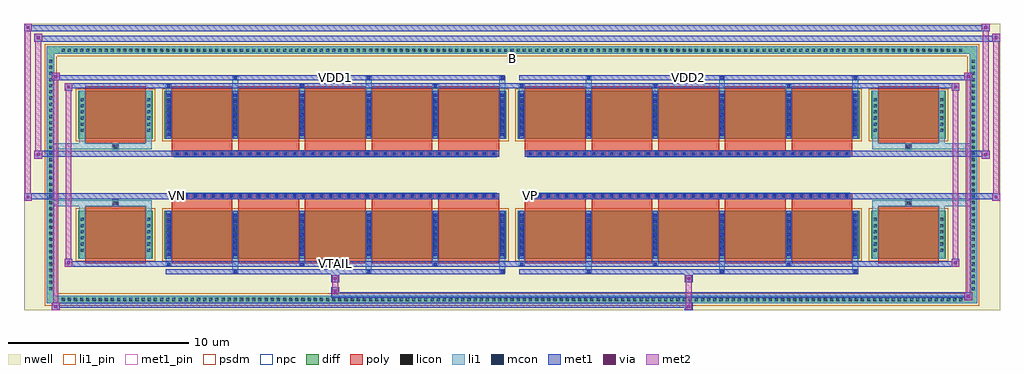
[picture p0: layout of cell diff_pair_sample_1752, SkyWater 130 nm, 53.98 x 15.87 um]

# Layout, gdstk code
import gdstk
lib = gdstk.Library(unit=1e-6, precision=5e-09)
def R(c, l, rs):  # rectangles x0, y0, x1, y1
    for r in rs: c.add(gdstk.rectangle(r[:2], r[2:], *l))
def A(c, l, x, y, w, h, nx, ny, dx, dy):  # array of equal rectangles
    R(c, l, [(x+i*dx, y+j*dy, x+i*dx+w, y+j*dy+h) for i in range(nx) for j in range(ny)])
def P(c, l, *ps):  # polygons
    for p in ps: c.add(gdstk.Polygon(p, *l))
nwell = (64, 20)
diff = (65, 20)
poly = (66, 20)
licon = (66, 44)
li1_pin = (67, 16)
li1 = (67, 20)
mcon = (67, 44)
met1_pin = (68, 16)
met1 = (68, 20)
via = (68, 44)
met2 = (69, 20)
psdm = (94, 20)
npc = (95, 20)

diff_pair_sample_1752 = lib.new_cell('diff_pair_sample_1752')
R(diff_pair_sample_1752, nwell, [(-26.99,-7.5,26.99,8.37), (-24.31,-5.69,-0.01,-0.805), (0.01,-5.69,24.31,-0.805), (-24.31,0.805,-0.01,5.69), (0.01,0.805,24.31,5.69)])
A(diff_pair_sample_1752, diff, -25.025, -7.1, 0.41, 0.41, 147, 2, 0.34, 13.79)
A(diff_pair_sample_1752, diff, -25.72, -6.495, 0.41, 0.41, 1, 38, 0, 0.34)
A(diff_pair_sample_1752, diff, 25.31, -6.495, 0.41, 0.41, 1, 38, 0, 0.34)
R(diff_pair_sample_1752, diff, [(-25.025,-7.1,25.025,-6.69), (-25.72,-6.495,-25.31,6.495), (25.31,-6.495,25.72,6.495), (-24,-4.645,-19.86,-1.985), (-19.22,-4.645,-0.32,-1.985), (0.32,-4.645,19.22,-1.985), (19.86,-4.645,24,-1.985), (-24,1.985,-19.86,4.645), (-19.22,1.985,-0.32,4.645), (0.32,1.985,19.22,4.645), (19.86,1.985,24,4.645), (-25.025,6.69,25.025,7.1)])
P(diff_pair_sample_1752, diff, [(25.72,7.1),(-25.72,7.1),(-25.72,-6.69),(-25.31,-6.69),(-25.31,6.69),(25.31,6.69),(25.31,-6.69),(-25.31,-6.69),(-25.72,-6.69),(-25.72,-7.1),(25.72,-7.1)])
A(diff_pair_sample_1752, poly, -18.83, -4.895, 3.36, 3.16, 5, 2, 3.69, 6.63)
A(diff_pair_sample_1752, poly, 0.71, -4.895, 3.36, 3.16, 5, 2, 3.69, 6.63)
A(diff_pair_sample_1752, poly, -18.83, -1.735, 3.36, 0.4, 5, 2, 3.69, 3.07)
A(diff_pair_sample_1752, poly, 0.71, -1.735, 3.36, 0.4, 5, 2, 3.69, 3.07)
A(diff_pair_sample_1752, poly, -18.685, -1.335, 0.33, 0.33, 36, 2, 0.5, 2.34)
A(diff_pair_sample_1752, poly, 0.855, -1.335, 0.33, 0.33, 36, 2, 0.5, 2.34)
R(diff_pair_sample_1752, poly, [(-23.61,-4.895,-20.25,-1.735), (20.25,-4.895,23.61,-1.735), (-22.095,-1.735,-21.765,-1.405), (-22.095,-1.735,-21.765,-1.405), (21.765,-1.735,22.095,-1.405), (21.765,-1.735,22.095,-1.405), (-18.83,-1.335,-0.71,-1.005), (0.71,-1.335,18.83,-1.005), (-18.83,1.005,-0.71,1.335), (0.71,1.005,18.83,1.335), (-22.095,1.405,-21.765,1.735), (-22.095,1.405,-21.765,1.735), (21.765,1.405,22.095,1.735), (21.765,1.405,22.095,1.735), (-23.61,1.735,-20.25,4.895), (20.25,1.735,23.61,4.895)])
A(diff_pair_sample_1752, licon, -24.905, -6.98, 0.17, 0.17, 147, 2, 0.34, 13.79)
A(diff_pair_sample_1752, licon, -25.6, -6.375, 0.17, 0.17, 1, 38, 0, 0.34)
A(diff_pair_sample_1752, licon, 25.43, -6.375, 0.17, 0.17, 1, 38, 0, 0.34)
A(diff_pair_sample_1752, licon, -23.86, -4.25, 0.17, 0.17, 1, 6, 0, 0.34)
A(diff_pair_sample_1752, licon, -20.17, -4.25, 0.17, 0.17, 1, 6, 0, 0.34)
A(diff_pair_sample_1752, licon, -19.08, -4.25, 0.17, 0.17, 6, 6, 3.69, 0.34)
A(diff_pair_sample_1752, licon, 0.46, -4.25, 0.17, 0.17, 6, 6, 3.69, 0.34)
A(diff_pair_sample_1752, licon, 20, -4.25, 0.17, 0.17, 1, 6, 0, 0.34)
A(diff_pair_sample_1752, licon, 23.69, -4.25, 0.17, 0.17, 1, 6, 0, 0.34)
A(diff_pair_sample_1752, licon, -18.605, -1.255, 0.17, 0.17, 36, 2, 0.5, 2.34)
A(diff_pair_sample_1752, licon, 0.935, -1.255, 0.17, 0.17, 36, 2, 0.5, 2.34)
A(diff_pair_sample_1752, licon, -23.86, 2.38, 0.17, 0.17, 1, 6, 0, 0.34)
A(diff_pair_sample_1752, licon, -20.17, 2.38, 0.17, 0.17, 1, 6, 0, 0.34)
A(diff_pair_sample_1752, licon, -19.08, 2.38, 0.17, 0.17, 6, 6, 3.69, 0.34)
A(diff_pair_sample_1752, licon, 0.46, 2.38, 0.17, 0.17, 6, 6, 3.69, 0.34)
A(diff_pair_sample_1752, licon, 20, 2.38, 0.17, 0.17, 1, 6, 0, 0.34)
A(diff_pair_sample_1752, licon, 23.69, 2.38, 0.17, 0.17, 1, 6, 0, 0.34)
R(diff_pair_sample_1752, licon, [(-22.015,-1.655,-21.845,-1.485), (21.845,-1.655,22.015,-1.485), (-22.015,1.485,-21.845,1.655), (21.845,1.485,22.015,1.655)])
R(diff_pair_sample_1752, li1_pin, [(-0.25,6.19,0.25,6.69)])
A(diff_pair_sample_1752, li1, -24.985, -7.06, 0.33, 0.33, 147, 2, 0.34, 13.79)
A(diff_pair_sample_1752, li1, -25.68, -6.455, 0.33, 0.33, 1, 38, 0, 0.34)
A(diff_pair_sample_1752, li1, 25.35, -6.455, 0.33, 0.33, 1, 38, 0, 0.34)
A(diff_pair_sample_1752, li1, -15.47, -5.45, 0.33, 0.805, 3, 2, 7.38, 10.095)
A(diff_pair_sample_1752, li1, -15.39, -5.45, 0.17, 0.17, 3, 2, 7.38, 10.73)
A(diff_pair_sample_1752, li1, 4.07, -5.45, 0.33, 0.805, 3, 2, 7.38, 10.095)
A(diff_pair_sample_1752, li1, 4.15, -5.45, 0.17, 0.17, 3, 2, 7.38, 10.73)
A(diff_pair_sample_1752, li1, -19.16, -5.02, 0.33, 0.375, 3, 2, 7.38, 9.665)
A(diff_pair_sample_1752, li1, -19.08, -5.02, 0.17, 0.17, 3, 2, 7.38, 9.87)
A(diff_pair_sample_1752, li1, 0.38, -5.02, 0.33, 0.375, 3, 2, 7.38, 9.665)
A(diff_pair_sample_1752, li1, 0.46, -5.02, 0.17, 0.17, 3, 2, 7.38, 9.87)
A(diff_pair_sample_1752, li1, -19.16, -4.645, 0.33, 2.66, 6, 2, 3.69, 6.63)
A(diff_pair_sample_1752, li1, 0.38, -4.645, 0.33, 2.66, 6, 2, 3.69, 6.63)
A(diff_pair_sample_1752, li1, -19.08, -4.48, 0.17, 0.17, 6, 7, 3.69, 0.36)
A(diff_pair_sample_1752, li1, -19.08, -4.48, 0.17, 2.33, 6, 2, 3.69, 6.63)
A(diff_pair_sample_1752, li1, 0.46, -4.48, 0.17, 0.17, 6, 7, 3.69, 0.36)
A(diff_pair_sample_1752, li1, 0.46, -4.48, 0.17, 2.33, 6, 2, 3.69, 6.63)
A(diff_pair_sample_1752, li1, -23.94, -4.33, 0.33, 0.33, 1, 6, 0, 0.34)
A(diff_pair_sample_1752, li1, -20.25, -4.33, 0.33, 0.33, 1, 6, 0, 0.34)
A(diff_pair_sample_1752, li1, -19.16, -4.33, 0.33, 0.33, 6, 6, 3.69, 0.34)
A(diff_pair_sample_1752, li1, 0.38, -4.33, 0.33, 0.33, 6, 6, 3.69, 0.34)
A(diff_pair_sample_1752, li1, 19.92, -4.33, 0.33, 0.33, 1, 6, 0, 0.34)
A(diff_pair_sample_1752, li1, 23.61, -4.33, 0.33, 0.33, 1, 6, 0, 0.34)
A(diff_pair_sample_1752, li1, -18.685, -1.335, 0.33, 0.33, 36, 2, 0.5, 2.34)
A(diff_pair_sample_1752, li1, 0.855, -1.335, 0.33, 0.33, 36, 2, 0.5, 2.34)
A(diff_pair_sample_1752, li1, -19.08, 2.15, 0.17, 0.17, 6, 7, 3.69, 0.36)
A(diff_pair_sample_1752, li1, 0.46, 2.15, 0.17, 0.17, 6, 7, 3.69, 0.36)
A(diff_pair_sample_1752, li1, -23.94, 2.3, 0.33, 0.33, 1, 6, 0, 0.34)
A(diff_pair_sample_1752, li1, -20.25, 2.3, 0.33, 0.33, 1, 6, 0, 0.34)
A(diff_pair_sample_1752, li1, -19.16, 2.3, 0.33, 0.33, 6, 6, 3.69, 0.34)
A(diff_pair_sample_1752, li1, 0.38, 2.3, 0.33, 0.33, 6, 6, 3.69, 0.34)
A(diff_pair_sample_1752, li1, 19.92, 2.3, 0.33, 0.33, 1, 6, 0, 0.34)
A(diff_pair_sample_1752, li1, 23.61, 2.3, 0.33, 0.33, 1, 6, 0, 0.34)
R(diff_pair_sample_1752, li1, [(-25.72,-7.1,-25.31,-6.69), (-25.72,-7.1,-25.31,-6.69), (-25.31,-7.1,25.31,-6.69), (25.31,-7.1,25.72,-6.69), (25.31,-7.1,25.72,-6.69), (-25.72,-6.69,-25.31,6.69), (25.31,-6.69,25.72,6.69), (-23.94,-4.645,-23.61,-1.985), (-20.25,-4.645,-19.92,-1.985), (19.92,-4.645,20.25,-1.985), (23.61,-4.645,23.94,-1.985), (-23.94,-1.985,-23.61,-1.405), (-20.25,-1.985,-19.92,-1.405), (19.92,-1.985,20.25,-1.405), (23.61,-1.985,23.94,-1.405), (-25.72,-1.735,-22.095,-1.405), (-23.94,-1.735,-22.095,-1.405), (-22.095,-1.735,-21.765,-1.405), (-21.765,-1.735,-19.92,-1.405), (19.92,-1.735,21.765,-1.405), (21.765,-1.735,22.095,-1.405), (21.765,-1.735,25.72,-1.405), (22.095,-1.735,23.94,-1.405), (-25.72,1.405,-22.095,1.735), (-23.94,1.405,-22.095,1.735), (-23.94,1.405,-23.61,1.985), (-22.095,1.405,-21.765,1.735), (-21.765,1.405,-19.92,1.735), (-20.25,1.405,-19.92,1.985), (19.92,1.405,21.765,1.735), (19.92,1.405,20.25,1.985), (21.765,1.405,22.095,1.735), (21.765,1.405,25.72,1.735), (22.095,1.405,23.94,1.735), (23.61,1.405,23.94,1.985), (-23.94,1.985,-23.61,4.645), (-20.25,1.985,-19.92,4.645), (19.92,1.985,20.25,4.645), (23.61,1.985,23.94,4.645), (-25.72,6.69,-25.31,7.1), (-25.72,6.69,-25.31,7.1), (-25.31,6.69,25.31,7.1), (25.31,6.69,25.72,7.1), (25.31,6.69,25.72,7.1)])
A(diff_pair_sample_1752, mcon, -15.39, -5.45, 0.17, 0.17, 3, 2, 7.38, 10.73)
A(diff_pair_sample_1752, mcon, 4.15, -5.45, 0.17, 0.17, 3, 2, 7.38, 10.73)
A(diff_pair_sample_1752, mcon, -19.08, -5.02, 0.17, 0.17, 3, 2, 7.38, 9.87)
A(diff_pair_sample_1752, mcon, 0.46, -5.02, 0.17, 0.17, 3, 2, 7.38, 9.87)
A(diff_pair_sample_1752, mcon, -19.08, -4.48, 0.17, 0.17, 6, 7, 3.69, 0.36)
A(diff_pair_sample_1752, mcon, 0.46, -4.48, 0.17, 0.17, 6, 7, 3.69, 0.36)
A(diff_pair_sample_1752, mcon, -18.605, -1.255, 0.17, 0.17, 36, 2, 0.5, 2.34)
A(diff_pair_sample_1752, mcon, 0.935, -1.255, 0.17, 0.17, 36, 2, 0.5, 2.34)
A(diff_pair_sample_1752, mcon, -19.08, 2.15, 0.17, 0.17, 6, 7, 3.69, 0.36)
A(diff_pair_sample_1752, mcon, 0.46, 2.15, 0.17, 0.17, 6, 7, 3.69, 0.36)
R(diff_pair_sample_1752, met1_pin, [(-9.905,-5.06,-9.635,-4.79), (-18.655,-1.295,-18.385,-1.025), (0.885,-1.295,1.155,-1.025), (-9.905,5.24,-9.635,5.51), (9.635,5.24,9.905,5.51)])
A(diff_pair_sample_1752, met1, -15.45, -5.51, 0.29, 0.29, 3, 2, 7.38, 10.73)
A(diff_pair_sample_1752, met1, 4.09, -5.51, 0.29, 0.29, 3, 2, 7.38, 10.73)
A(diff_pair_sample_1752, met1, -19.14, -5.08, 0.29, 0.29, 3, 2, 7.38, 9.87)
A(diff_pair_sample_1752, met1, 0.4, -5.08, 0.29, 0.29, 3, 2, 7.38, 9.87)
A(diff_pair_sample_1752, met1, -19.14, -4.645, 0.29, 2.66, 6, 2, 3.69, 6.63)
A(diff_pair_sample_1752, met1, 0.4, -4.645, 0.29, 2.66, 6, 2, 3.69, 6.63)
A(diff_pair_sample_1752, met1, -19.14, -4.54, 0.29, 0.29, 6, 7, 3.69, 0.36)
A(diff_pair_sample_1752, met1, 0.4, -4.54, 0.29, 0.29, 6, 7, 3.69, 0.36)
A(diff_pair_sample_1752, met1, -18.665, -1.315, 0.29, 0.29, 36, 2, 0.5, 2.34)
A(diff_pair_sample_1752, met1, 0.875, -1.315, 0.29, 0.29, 36, 2, 0.5, 2.34)
A(diff_pair_sample_1752, met1, -19.14, 2.09, 0.29, 0.29, 6, 7, 3.69, 0.36)
A(diff_pair_sample_1752, met1, 0.4, 2.09, 0.29, 0.29, 6, 7, 3.69, 0.36)
R(diff_pair_sample_1752, met1, [(-25.45,-7.5,-25.02,-7.07), (9.555,-7.5,9.985,-7.07), (-25.45,-7.36,9.985,-7.07), (25.02,-6.93,25.45,-6.5), (-9.985,-6.79,25.45,-6.5), (-9.985,-6.65,-9.555,-6.22), (-9.985,-5.94,-9.555,-5.51), (9.555,-5.94,9.985,-5.51), (-19.14,-5.51,-0.4,-5.22), (0.4,-5.51,19.14,-5.22), (-24.74,-5.08,-24.31,-4.65), (-24.74,-5.08,-19.14,-4.79), (-19.14,-5.08,-0.4,-4.79), (-0.4,-5.08,0.4,-4.79), (0.4,-5.08,19.14,-4.79), (19.14,-5.08,24.74,-4.79), (24.31,-5.08,24.74,-4.65), (-26.99,-1.435,-26.56,-1.005), (26.56,-1.435,26.99,-1.005), (-26.99,-1.335,-0.71,-1.005), (-18.83,-1.335,-0.71,-1.005), (0.71,-1.335,18.83,-1.005), (0.71,-1.335,26.99,-1.005), (-26.42,0.905,-25.99,1.335), (25.99,0.905,26.42,1.335), (-26.42,1.005,-18.83,1.335), (-18.83,1.005,-0.71,1.335), (0.71,1.005,18.83,1.335), (18.83,1.005,26.42,1.335), (-24.74,4.65,-24.31,5.08), (24.31,4.65,24.74,5.08), (-24.74,4.79,-19.14,5.08), (-19.14,4.79,-0.4,5.08), (-0.4,4.79,0.4,5.08), (0.4,4.79,19.14,5.08), (19.14,4.79,24.74,5.08), (-25.45,5.22,-25.02,5.65), (-25.45,5.22,-19.14,5.51), (-19.14,5.22,-0.4,5.51), (0.4,5.22,19.14,5.51), (19.14,5.22,25.45,5.51), (25.02,5.22,25.45,5.65), (-26.42,7.37,-25.99,7.8), (-26.42,7.37,-24.31,7.7), (-24.31,7.37,24.31,7.7), (24.31,7.37,26.99,7.7), (26.56,7.37,26.99,7.8), (-26.99,7.94,-26.56,8.37), (-26.99,7.94,-24.31,8.27), (-24.31,7.94,24.31,8.27), (24.31,7.94,26.42,8.27), (25.99,7.94,26.42,8.37)])
R(diff_pair_sample_1752, via, [(-25.31,-7.36,-25.16,-7.21), (9.695,-7.36,9.845,-7.21), (25.16,-6.79,25.31,-6.64), (-9.845,-6.51,-9.695,-6.36), (-9.845,-5.8,-9.695,-5.65), (9.695,-5.8,9.845,-5.65), (-24.6,-4.94,-24.45,-4.79), (24.45,-4.94,24.6,-4.79), (-26.85,-1.295,-26.7,-1.145), (26.7,-1.295,26.85,-1.145), (-26.28,1.045,-26.13,1.195), (26.13,1.045,26.28,1.195), (-24.6,4.79,-24.45,4.94), (24.45,4.79,24.6,4.94), (-25.31,5.36,-25.16,5.51), (25.16,5.36,25.31,5.51), (-26.28,7.51,-26.13,7.66), (26.7,7.51,26.85,7.66), (-26.85,8.08,-26.7,8.23), (26.13,8.08,26.28,8.23)])
R(diff_pair_sample_1752, met2, [(-25.45,-7.5,-25.02,-7.07), (-25.38,-7.5,-25.09,5.65), (-25.09,-7.5,-25.02,-7.07), (-25.4,-7.45,-25.07,-7.12), (9.605,-7.45,9.935,-7.12), (9.605,-7.12,9.935,-5.89), (25.02,-6.93,25.45,-6.5), (25.09,-6.93,25.38,5.65), (25.38,-6.93,25.45,-6.5), (25.07,-6.88,25.4,-6.55), (-9.935,-6.6,-9.605,-6.27), (-9.935,-6.27,-9.605,-5.89), (-9.935,-5.89,-9.605,-5.56), (9.605,-5.89,9.935,-5.56), (-24.74,-5.08,-24.31,-4.65), (-24.67,-5.08,-24.38,5.08), (-24.38,-5.08,-24.31,-4.65), (24.31,-5.08,24.74,-4.65), (24.38,-5.08,24.67,5.08), (24.67,-5.08,24.74,-4.65), (-24.69,-5.03,-24.36,-4.7), (24.36,-5.03,24.69,-4.7), (-26.99,-1.435,-26.56,-1.005), (-26.94,-1.435,-26.61,8.37), (-26.61,-1.435,-26.56,-1.005), (26.56,-1.435,26.99,-1.005), (26.61,-1.435,26.94,7.8), (26.94,-1.435,26.99,-1.005), (-26.94,-1.385,-26.61,-1.055), (26.61,-1.385,26.94,-1.055), (-26.42,0.905,-25.99,1.335), (-26.37,0.905,-26.04,7.8), (-26.04,0.905,-25.99,1.335), (25.99,0.905,26.42,1.335), (26.04,0.905,26.37,8.37), (26.37,0.905,26.42,1.335), (-26.37,0.955,-26.04,1.285), (26.04,0.955,26.37,1.285), (-24.74,4.65,-24.31,5.08), (-24.38,4.65,-24.31,5.08), (24.31,4.65,24.74,5.08), (24.67,4.65,24.74,5.08), (-24.69,4.7,-24.36,5.03), (24.36,4.7,24.69,5.03), (-25.45,5.22,-25.02,5.65), (-25.09,5.22,-25.02,5.65), (25.02,5.22,25.45,5.65), (25.38,5.22,25.45,5.65), (-25.4,5.27,-25.07,5.6), (25.07,5.27,25.4,5.6), (-26.42,7.37,-25.99,7.8), (-26.04,7.37,-25.99,7.8), (26.56,7.37,26.99,7.8), (26.94,7.37,26.99,7.8), (-26.37,7.42,-26.04,7.75), (26.61,7.42,26.94,7.75), (-26.99,7.94,-26.56,8.37), (-26.61,7.94,-26.56,8.37), (25.99,7.94,26.42,8.37), (26.37,7.94,26.42,8.37), (-26.94,7.99,-26.61,8.32), (26.04,7.99,26.37,8.32)])
R(diff_pair_sample_1752, psdm, [(-24.13,-4.775,-19.73,-1.855), (-19.35,-4.775,-0.19,-1.855), (0.19,-4.775,19.35,-1.855), (19.73,-4.775,24.13,-1.855), (-24.13,1.855,-19.73,4.775), (-19.35,1.855,-0.19,4.775), (0.19,1.855,19.35,4.775), (19.73,1.855,24.13,4.775)])
P(diff_pair_sample_1752, psdm, [(25.85,7.23),(-25.85,7.23),(-25.85,-6.56),(-25.18,-6.56),(-25.18,6.56),(25.18,6.56),(25.18,-6.56),(-25.18,-6.56),(-25.85,-6.56),(-25.85,-7.23),(25.85,-7.23)])
A(diff_pair_sample_1752, npc, -18.705, -1.355, 0.37, 0.37, 36, 2, 0.5, 2.34)
A(diff_pair_sample_1752, npc, 0.835, -1.355, 0.37, 0.37, 36, 2, 0.5, 2.34)
R(diff_pair_sample_1752, npc, [(-22.115,-1.755,-21.745,-1.385), (21.745,-1.755,22.115,-1.385), (-18.705,-1.355,-17.835,-0.985), (-18.705,-1.355,-17.835,-0.985), (-18.205,-1.355,-17.335,-0.985), (-18.205,-1.355,-17.335,-0.985), (-17.705,-1.355,-16.835,-0.985), (-17.705,-1.355,-16.835,-0.985), (-17.205,-1.355,-16.335,-0.985), (-17.205,-1.355,-16.335,-0.985), (-16.705,-1.355,-15.835,-0.985), (-16.705,-1.355,-15.835,-0.985), (-16.205,-1.355,-15.335,-0.985), (-16.205,-1.355,-15.335,-0.985), (-15.705,-1.355,-14.835,-0.985), (-15.705,-1.355,-14.835,-0.985), (-15.205,-1.355,-14.335,-0.985), (-15.205,-1.355,-14.335,-0.985), (-14.705,-1.355,-13.835,-0.985), (-14.705,-1.355,-13.835,-0.985), (-14.205,-1.355,-13.335,-0.985), (-14.205,-1.355,-13.335,-0.985), (-13.705,-1.355,-12.835,-0.985), (-13.705,-1.355,-12.835,-0.985), (-13.205,-1.355,-12.335,-0.985), (-13.205,-1.355,-12.335,-0.985), (-12.705,-1.355,-11.835,-0.985), (-12.705,-1.355,-11.835,-0.985), (-12.205,-1.355,-11.335,-0.985), (-12.205,-1.355,-11.335,-0.985), (-11.705,-1.355,-10.835,-0.985), (-11.705,-1.355,-10.835,-0.985), (-11.205,-1.355,-10.335,-0.985), (-11.205,-1.355,-10.335,-0.985), (-10.705,-1.355,-9.835,-0.985), (-10.705,-1.355,-9.835,-0.985), (-10.205,-1.355,-9.335,-0.985), (-10.205,-1.355,-9.335,-0.985), (-9.705,-1.355,-8.835,-0.985), (-9.705,-1.355,-8.835,-0.985), (-9.205,-1.355,-8.335,-0.985), (-9.205,-1.355,-8.335,-0.985), (-8.705,-1.355,-7.835,-0.985), (-8.705,-1.355,-7.835,-0.985), (-8.205,-1.355,-7.335,-0.985), (-8.205,-1.355,-7.335,-0.985), (-7.705,-1.355,-6.835,-0.985), (-7.705,-1.355,-6.835,-0.985), (-7.205,-1.355,-6.335,-0.985), (-7.205,-1.355,-6.335,-0.985), (-6.705,-1.355,-5.835,-0.985), (-6.705,-1.355,-5.835,-0.985), (-6.205,-1.355,-5.335,-0.985), (-6.205,-1.355,-5.335,-0.985), (-5.705,-1.355,-4.835,-0.985), (-5.705,-1.355,-4.835,-0.985), (-5.205,-1.355,-4.335,-0.985), (-5.205,-1.355,-4.335,-0.985), (-4.705,-1.355,-3.835,-0.985), (-4.705,-1.355,-3.835,-0.985), (-4.205,-1.355,-3.335,-0.985), (-4.205,-1.355,-3.335,-0.985), (-3.705,-1.355,-2.835,-0.985), (-3.705,-1.355,-2.835,-0.985), (-3.205,-1.355,-2.335,-0.985), (-3.205,-1.355,-2.335,-0.985), (-2.705,-1.355,-1.835,-0.985), (-2.705,-1.355,-1.835,-0.985), (-2.205,-1.355,-1.335,-0.985), (-2.205,-1.355,-1.335,-0.985), (-1.705,-1.355,-0.835,-0.985), (-1.705,-1.355,-0.835,-0.985), (0.835,-1.355,1.705,-0.985), (0.835,-1.355,1.705,-0.985), (1.335,-1.355,2.205,-0.985), (1.335,-1.355,2.205,-0.985), (1.835,-1.355,2.705,-0.985), (1.835,-1.355,2.705,-0.985), (2.335,-1.355,3.205,-0.985), (2.335,-1.355,3.205,-0.985), (2.835,-1.355,3.705,-0.985), (2.835,-1.355,3.705,-0.985), (3.335,-1.355,4.205,-0.985), (3.335,-1.355,4.205,-0.985), (3.835,-1.355,4.705,-0.985), (3.835,-1.355,4.705,-0.985), (4.335,-1.355,5.205,-0.985), (4.335,-1.355,5.205,-0.985), (4.835,-1.355,5.705,-0.985), (4.835,-1.355,5.705,-0.985), (5.335,-1.355,6.205,-0.985), (5.335,-1.355,6.205,-0.985), (5.835,-1.355,6.705,-0.985), (5.835,-1.355,6.705,-0.985), (6.335,-1.355,7.205,-0.985), (6.335,-1.355,7.205,-0.985), (6.835,-1.355,7.705,-0.985), (6.835,-1.355,7.705,-0.985), (7.335,-1.355,8.205,-0.985), (7.335,-1.355,8.205,-0.985), (7.835,-1.355,8.705,-0.985), (7.835,-1.355,8.705,-0.985), (8.335,-1.355,9.205,-0.985), (8.335,-1.355,9.205,-0.985), (8.835,-1.355,9.705,-0.985), (8.835,-1.355,9.705,-0.985), (9.335,-1.355,10.205,-0.985), (9.335,-1.355,10.205,-0.985), (9.835,-1.355,10.705,-0.985), (9.835,-1.355,10.705,-0.985), (10.335,-1.355,11.205,-0.985), (10.335,-1.355,11.205,-0.985), (10.835,-1.355,11.705,-0.985), (10.835,-1.355,11.705,-0.985), (11.335,-1.355,12.205,-0.985), (11.335,-1.355,12.205,-0.985), (11.835,-1.355,12.705,-0.985), (11.835,-1.355,12.705,-0.985), (12.335,-1.355,13.205,-0.985), (12.335,-1.355,13.205,-0.985), (12.835,-1.355,13.705,-0.985), (12.835,-1.355,13.705,-0.985), (13.335,-1.355,14.205,-0.985), (13.335,-1.355,14.205,-0.985), (13.835,-1.355,14.705,-0.985), (13.835,-1.355,14.705,-0.985), (14.335,-1.355,15.205,-0.985), (14.335,-1.355,15.205,-0.985), (14.835,-1.355,15.705,-0.985), (14.835,-1.355,15.705,-0.985), (15.335,-1.355,16.205,-0.985), (15.335,-1.355,16.205,-0.985), (15.835,-1.355,16.705,-0.985), (15.835,-1.355,16.705,-0.985), (16.335,-1.355,17.205,-0.985), (16.335,-1.355,17.205,-0.985), (16.835,-1.355,17.705,-0.985), (16.835,-1.355,17.705,-0.985), (17.335,-1.355,18.205,-0.985), (17.335,-1.355,18.205,-0.985), (17.835,-1.355,18.705,-0.985), (17.835,-1.355,18.705,-0.985), (-18.705,0.985,-17.835,1.355), (-18.705,0.985,-17.835,1.355), (-18.205,0.985,-17.335,1.355), (-18.205,0.985,-17.335,1.355), (-17.705,0.985,-16.835,1.355), (-17.705,0.985,-16.835,1.355), (-17.205,0.985,-16.335,1.355), (-17.205,0.985,-16.335,1.355), (-16.705,0.985,-15.835,1.355), (-16.705,0.985,-15.835,1.355), (-16.205,0.985,-15.335,1.355), (-16.205,0.985,-15.335,1.355), (-15.705,0.985,-14.835,1.355), (-15.705,0.985,-14.835,1.355), (-15.205,0.985,-14.335,1.355), (-15.205,0.985,-14.335,1.355), (-14.705,0.985,-13.835,1.355), (-14.705,0.985,-13.835,1.355), (-14.205,0.985,-13.335,1.355), (-14.205,0.985,-13.335,1.355), (-13.705,0.985,-12.835,1.355), (-13.705,0.985,-12.835,1.355), (-13.205,0.985,-12.335,1.355), (-13.205,0.985,-12.335,1.355), (-12.705,0.985,-11.835,1.355), (-12.705,0.985,-11.835,1.355), (-12.205,0.985,-11.335,1.355), (-12.205,0.985,-11.335,1.355), (-11.705,0.985,-10.835,1.355), (-11.705,0.985,-10.835,1.355), (-11.205,0.985,-10.335,1.355), (-11.205,0.985,-10.335,1.355), (-10.705,0.985,-9.835,1.355), (-10.705,0.985,-9.835,1.355), (-10.205,0.985,-9.335,1.355), (-10.205,0.985,-9.335,1.355), (-9.705,0.985,-8.835,1.355), (-9.705,0.985,-8.835,1.355), (-9.205,0.985,-8.335,1.355), (-9.205,0.985,-8.335,1.355), (-8.705,0.985,-7.835,1.355), (-8.705,0.985,-7.835,1.355), (-8.205,0.985,-7.335,1.355), (-8.205,0.985,-7.335,1.355), (-7.705,0.985,-6.835,1.355), (-7.705,0.985,-6.835,1.355), (-7.205,0.985,-6.335,1.355), (-7.205,0.985,-6.335,1.355), (-6.705,0.985,-5.835,1.355), (-6.705,0.985,-5.835,1.355), (-6.205,0.985,-5.335,1.355), (-6.205,0.985,-5.335,1.355), (-5.705,0.985,-4.835,1.355), (-5.705,0.985,-4.835,1.355), (-5.205,0.985,-4.335,1.355), (-5.205,0.985,-4.335,1.355), (-4.705,0.985,-3.835,1.355), (-4.705,0.985,-3.835,1.355), (-4.205,0.985,-3.335,1.355), (-4.205,0.985,-3.335,1.355), (-3.705,0.985,-2.835,1.355), (-3.705,0.985,-2.835,1.355), (-3.205,0.985,-2.335,1.355), (-3.205,0.985,-2.335,1.355), (-2.705,0.985,-1.835,1.355), (-2.705,0.985,-1.835,1.355), (-2.205,0.985,-1.335,1.355), (-2.205,0.985,-1.335,1.355), (-1.705,0.985,-0.835,1.355), (-1.705,0.985,-0.835,1.355), (0.835,0.985,1.705,1.355), (0.835,0.985,1.705,1.355), (1.335,0.985,2.205,1.355), (1.335,0.985,2.205,1.355), (1.835,0.985,2.705,1.355), (1.835,0.985,2.705,1.355), (2.335,0.985,3.205,1.355), (2.335,0.985,3.205,1.355), (2.835,0.985,3.705,1.355), (2.835,0.985,3.705,1.355), (3.335,0.985,4.205,1.355), (3.335,0.985,4.205,1.355), (3.835,0.985,4.705,1.355), (3.835,0.985,4.705,1.355), (4.335,0.985,5.205,1.355), (4.335,0.985,5.205,1.355), (4.835,0.985,5.705,1.355), (4.835,0.985,5.705,1.355), (5.335,0.985,6.205,1.355), (5.335,0.985,6.205,1.355), (5.835,0.985,6.705,1.355), (5.835,0.985,6.705,1.355), (6.335,0.985,7.205,1.355), (6.335,0.985,7.205,1.355), (6.835,0.985,7.705,1.355), (6.835,0.985,7.705,1.355), (7.335,0.985,8.205,1.355), (7.335,0.985,8.205,1.355), (7.835,0.985,8.705,1.355), (7.835,0.985,8.705,1.355), (8.335,0.985,9.205,1.355), (8.335,0.985,9.205,1.355), (8.835,0.985,9.705,1.355), (8.835,0.985,9.705,1.355), (9.335,0.985,10.205,1.355), (9.335,0.985,10.205,1.355), (9.835,0.985,10.705,1.355), (9.835,0.985,10.705,1.355), (10.335,0.985,11.205,1.355), (10.335,0.985,11.205,1.355), (10.835,0.985,11.705,1.355), (10.835,0.985,11.705,1.355), (11.335,0.985,12.205,1.355), (11.335,0.985,12.205,1.355), (11.835,0.985,12.705,1.355), (11.835,0.985,12.705,1.355), (12.335,0.985,13.205,1.355), (12.335,0.985,13.205,1.355), (12.835,0.985,13.705,1.355), (12.835,0.985,13.705,1.355), (13.335,0.985,14.205,1.355), (13.335,0.985,14.205,1.355), (13.835,0.985,14.705,1.355), (13.835,0.985,14.705,1.355), (14.335,0.985,15.205,1.355), (14.335,0.985,15.205,1.355), (14.835,0.985,15.705,1.355), (14.835,0.985,15.705,1.355), (15.335,0.985,16.205,1.355), (15.335,0.985,16.205,1.355), (15.835,0.985,16.705,1.355), (15.835,0.985,16.705,1.355), (16.335,0.985,17.205,1.355), (16.335,0.985,17.205,1.355), (16.835,0.985,17.705,1.355), (16.835,0.985,17.705,1.355), (17.335,0.985,18.205,1.355), (17.335,0.985,18.205,1.355), (17.835,0.985,18.705,1.355), (17.835,0.985,18.705,1.355), (-22.115,1.385,-21.745,1.755), (21.745,1.385,22.115,1.755)])
diff_pair_sample_1752.add(gdstk.Label('VTAIL', (-9.77,-4.925), layer=68, texttype=5))
diff_pair_sample_1752.add(gdstk.Label('VN', (-18.52,-1.16), layer=68, texttype=5))
diff_pair_sample_1752.add(gdstk.Label('VP', (1.02,-1.16), layer=68, texttype=5))
diff_pair_sample_1752.add(gdstk.Label('B', (0,6.44), layer=67, texttype=5))
diff_pair_sample_1752.add(gdstk.Label('VDD2', (9.77,5.375), layer=68, texttype=5))
diff_pair_sample_1752.add(gdstk.Label('VDD1', (-9.77,5.375), layer=68, texttype=5))

lib.write_gds('diff_pair_sample_1752.gds')
